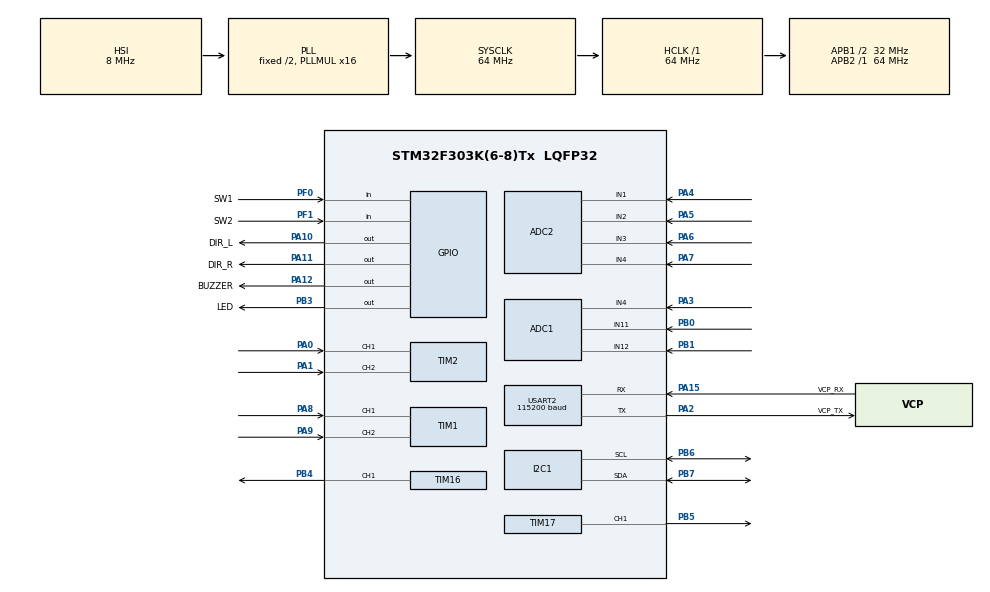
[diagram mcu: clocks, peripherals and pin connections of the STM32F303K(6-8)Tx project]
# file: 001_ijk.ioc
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ADC1.Channel-0\#ChannelRegularConversion=ADC_CHANNEL_4
ADC1.Channel-1\#ChannelRegularConversion=ADC_CHANNEL_11
ADC1.Channel-2\#ChannelRegularConversion=ADC_CHANNEL_12
ADC1.DMAContinuousRequests=ENABLE
ADC1.DiscontinuousConvMode=ENABLE
ADC1.ExternalTrigConv=ADC_EXTERNALTRIGCONV_T3_TRGO
ADC1.NbrOfConversion=3
ADC1.NbrOfConversionFlag=1
ADC1.NbrOfDiscConversion=3
ADC1.Offset-0\#ChannelRegularConversion=0
ADC1.Offset-1\#ChannelRegularConversion=0
ADC1.Offset-2\#ChannelRegularConversion=0
ADC1.OffsetNumber-0\#ChannelRegularConversion=ADC_OFFSET_NONE
ADC1.OffsetNumber-1\#ChannelRegularConversion=ADC_OFFSET_NONE
ADC1.OffsetNumber-2\#ChannelRegularConversion=ADC_OFFSET_NONE
ADC1.Rank-0\#ChannelRegularConversion=1
ADC1.Rank-1\#ChannelRegularConversion=2
ADC1.Rank-2\#ChannelRegularConversion=3
ADC1.SamplingTime-0\#ChannelRegularConversion=ADC_SAMPLETIME_4CYCLES_5
ADC1.SamplingTime-1\#ChannelRegularConversion=ADC_SAMPLETIME_4CYCLES_5
ADC1.SamplingTime-2\#ChannelRegularConversion=ADC_SAMPLETIME_4CYCLES_5
ADC1.SamplingTimeOPAMP-1\#ChannelRegularConversion=ADC_SAMPLETIME_61CYCLES_5
ADC1.SamplingTimeOPAMP-2\#ChannelRegularConversion=ADC_SAMPLETIME_61CYCLES_5
ADC1.SubFamily=STM32F303x8
ADC1.master=1
ADC2.Channel-0\#ChannelRegularConversion=ADC_CHANNEL_1
ADC2.Channel-1\#ChannelRegularConversion=ADC_CHANNEL_2
ADC2.Channel-2\#ChannelRegularConversion=ADC_CHANNEL_3
ADC2.Channel-3\#ChannelRegularConversion=ADC_CHANNEL_4
ADC2.DMAContinuousRequests=ENABLE
ADC2.DiscontinuousConvMode=ENABLE
ADC2.ExternalTrigConv=ADC_EXTERNALTRIGCONV_T3_TRGO
ADC2.NbrOfConversion=4
ADC2.NbrOfConversionFlag=1
ADC2.NbrOfDiscConversion=4
ADC2.Offset-0\#ChannelRegularConversion=0
ADC2.Offset-1\#ChannelRegularConversion=0
ADC2.Offset-2\#ChannelRegularConversion=0
ADC2.Offset-3\#ChannelRegularConversion=0
ADC2.OffsetNumber-0\#ChannelRegularConversion=ADC_OFFSET_NONE
ADC2.OffsetNumber-1\#ChannelRegularConversion=ADC_OFFSET_NONE
ADC2.OffsetNumber-2\#ChannelRegularConversion=ADC_OFFSET_NONE
ADC2.OffsetNumber-3\#ChannelRegularConversion=ADC_OFFSET_NONE
ADC2.Rank-0\#ChannelRegularConversion=1
ADC2.Rank-1\#ChannelRegularConversion=2
ADC2.Rank-2\#ChannelRegularConversion=3
ADC2.Rank-3\#ChannelRegularConversion=4
ADC2.SamplingTime-0\#ChannelRegularConversion=ADC_SAMPLETIME_4CYCLES_5
ADC2.SamplingTime-1\#ChannelRegularConversion=ADC_SAMPLETIME_4CYCLES_5
ADC2.SamplingTime-2\#ChannelRegularConversion=ADC_SAMPLETIME_4CYCLES_5
ADC2.SamplingTime-3\#ChannelRegularConversion=ADC_SAMPLETIME_4CYCLES_5
ADC2.SamplingTimeOPAMP-1\#ChannelRegularConversion=ADC_SAMPLETIME_61CYCLES_5
ADC2.SamplingTimeOPAMP-2\#ChannelRegularConversion=ADC_SAMPLETIME_61CYCLES_5
ADC2.SamplingTimeOPAMP-3\#ChannelRegularConversion=ADC_SAMPLETIME_61CYCLES_5
ADC2.SubFamily=STM32F303x8
Dma.ADC1.0.Direction=DMA_PERIPH_TO_MEMORY
Dma.ADC1.0.Instance=DMA1_Channel1
Dma.ADC1.0.MemDataAlignment=DMA_MDATAALIGN_HALFWORD
Dma.ADC1.0.MemInc=DMA_MINC_ENABLE
Dma.ADC1.0.Mode=DMA_CIRCULAR
Dma.ADC1.0.PeriphDataAlignment=DMA_PDATAALIGN_HALFWORD
Dma.ADC1.0.PeriphInc=DMA_PINC_DISABLE
Dma.ADC1.0.Priority=DMA_PRIORITY_LOW
Dma.ADC2.1.Direction=DMA_PERIPH_TO_MEMORY
Dma.ADC2.1.Instance=DMA1_Channel2
Dma.ADC2.1.MemDataAlignment=DMA_MDATAALIGN_HALFWORD
Dma.ADC2.1.MemInc=DMA_MINC_ENABLE
Dma.ADC2.1.Mode=DMA_CIRCULAR
Dma.ADC2.1.PeriphDataAlignment=DMA_PDATAALIGN_HALFWORD
Dma.ADC2.1.PeriphInc=DMA_PINC_DISABLE
Dma.ADC2.1.Priority=DMA_PRIORITY_LOW
Dma.I2C1_RX.2.Direction=DMA_PERIPH_TO_MEMORY
Dma.I2C1_RX.2.Instance=DMA1_Channel3
Dma.I2C1_RX.2.MemDataAlignment=DMA_MDATAALIGN_BYTE
Dma.I2C1_RX.2.MemInc=DMA_MINC_ENABLE
Dma.I2C1_RX.2.Mode=DMA_NORMAL
Dma.I2C1_RX.2.PeriphDataAlignment=DMA_PDATAALIGN_BYTE
Dma.I2C1_RX.2.PeriphInc=DMA_PINC_DISABLE
Dma.I2C1_RX.2.Priority=DMA_PRIORITY_LOW
Dma.I2C1_TX.3.Direction=DMA_MEMORY_TO_PERIPH
Dma.I2C1_TX.3.Instance=DMA1_Channel4
Dma.I2C1_TX.3.MemDataAlignment=DMA_MDATAALIGN_BYTE
Dma.I2C1_TX.3.MemInc=DMA_MINC_ENABLE
Dma.I2C1_TX.3.Mode=DMA_NORMAL
Dma.I2C1_TX.3.PeriphDataAlignment=DMA_PDATAALIGN_BYTE
Dma.I2C1_TX.3.PeriphInc=DMA_PINC_DISABLE
Dma.I2C1_TX.3.Priority=DMA_PRIORITY_LOW
Dma.Request0=ADC1
Dma.Request1=ADC2
Dma.Request2=I2C1_RX
Dma.Request3=I2C1_TX
I2C1.Timing=0x00201D2B
Mcu.Family=STM32F3
Mcu.Name=STM32F303K(6-8)Tx
Mcu.Package=LQFP32
NVIC.DMA1_Channel1_IRQn=true\:0\:0\:false\:false\:true\:false\:true\:true
NVIC.DMA1_Channel2_IRQn=true\:0\:0\:false\:false\:true\:false\:true\:true
NVIC.DMA1_Channel3_IRQn=true\:0\:0\:false\:false\:true\:false\:true\:true
NVIC.DMA1_Channel4_IRQn=true\:0\:0\:false\:false\:true\:false\:true\:true
NVIC.I2C1_EV_IRQn=true\:0\:0\:false\:false\:true\:true\:true\:true
NVIC.PriorityGroup=NVIC_PRIORITYGROUP_4
NVIC.TIM6_DAC1_IRQn=true\:0\:0\:false\:false\:true\:true\:true\:true
PA0.Signal=S_TIM2_CH1_ETR
PA1.Signal=S_TIM2_CH2
PA10.GPIO_Label=DIR_L
PA10.Signal=GPIO_Output
PA11.GPIO_Label=DIR_R
PA11.Signal=GPIO_Output
PA12.GPIO_Label=BUZZER
PA12.Signal=GPIO_Output
PA13.GPIO_Label=SWDIO
PA13.Mode=Serial_Wire
PA13.Signal=SYS_JTMS-SWDIO
PA14.GPIO_Label=SWCLK
PA14.Mode=Serial_Wire
PA14.Signal=SYS_JTCK-SWCLK
PA15.GPIO_Label=VCP_RX
PA15.Mode=Asynchronous
PA15.Signal=USART2_RX
PA2.GPIO_Label=VCP_TX
PA2.Mode=Asynchronous
PA2.Signal=USART2_TX
PA3.Mode=IN4-Single-Ended
PA3.Signal=ADC1_IN4
PA4.Mode=IN1-Single-Ended
PA4.Signal=ADC2_IN1
PA5.Mode=IN2-Single-Ended
PA5.Signal=ADC2_IN2
PA6.Mode=IN3-Single-Ended
PA6.Signal=ADC2_IN3
PA7.Mode=IN4-Single-Ended
PA7.Signal=ADC2_IN4
PA8.Signal=S_TIM1_CH1
PA9.Signal=S_TIM1_CH2
PB0.Mode=IN11-Single-Ended
PB0.Signal=ADC1_IN11
PB1.Mode=IN12-Single-Ended
PB1.Signal=ADC1_IN12
PB3.GPIO_Label=LED
PB3.Signal=GPIO_Output
PB4.Signal=S_TIM16_CH1
PB5.Signal=S_TIM17_CH1
PB6.Mode=I2C
PB6.Signal=I2C1_SCL
PB7.Mode=I2C
PB7.Signal=I2C1_SDA
PF0\ /\ OSC_IN.GPIO_Label=SW1
PF0\ /\ OSC_IN.GPIO_PuPd=GPIO_PULLUP
PF0\ /\ OSC_IN.Signal=GPIO_Input
PF1\ /\ OSC_OUT.GPIO_Label=SW2
PF1\ /\ OSC_OUT.GPIO_PuPd=GPIO_PULLUP
PF1\ /\ OSC_OUT.Signal=GPIO_Input
ProjectManager.HeapSize=0x200
ProjectManager.StackSize=0x400
ProjectManager.TargetToolchain=STM32CubeIDE
RCC.AHBFreq_Value=64000000
RCC.APB1CLKDivider=RCC_HCLK_DIV2
RCC.APB1Freq_Value=32000000
RCC.APB1TimFreq_Value=64000000
RCC.APB2Freq_Value=64000000
RCC.APB2TimFreq_Value=64000000
RCC.CortexFreq_Value=64000000
RCC.HCLKFreq_Value=64000000
RCC.HSE_VALUE=8000000
RCC.HSI_VALUE=8000000
RCC.PLLMUL=RCC_PLL_MUL16
RCC.SYSCLKFreq_VALUE=64000000
RCC.SYSCLKSourceVirtual=RCC_SYSCLKSOURCE_PLLCLK
SH.S_TIM16_CH1.0=TIM16_CH1,PWM Generation1 CH1
SH.S_TIM17_CH1.0=TIM17_CH1,PWM Generation1 CH1
SH.S_TIM1_CH1.0=TIM1_CH1,Encoder_Interface
SH.S_TIM1_CH2.0=TIM1_CH2,Encoder_Interface
SH.S_TIM2_CH1_ETR.0=TIM2_CH1,Encoder_Interface
SH.S_TIM2_CH2.0=TIM2_CH2,Encoder_Interface
TIM1.AutoReloadPreload=TIM_AUTORELOAD_PRELOAD_ENABLE
TIM1.EncoderMode=TIM_ENCODERMODE_TI12
TIM16.AutoReloadPreload=TIM_AUTORELOAD_PRELOAD_ENABLE
TIM16.Channel=TIM_CHANNEL_1
TIM16.Period=3199
TIM16.Pulse=599
TIM17.AutoReloadPreload=TIM_AUTORELOAD_PRELOAD_ENABLE
TIM17.Channel=TIM_CHANNEL_1
TIM17.Period=3199
TIM17.Pulse=599
TIM2.AutoReloadPreload=TIM_AUTORELOAD_PRELOAD_ENABLE
TIM2.EncoderMode=TIM_ENCODERMODE_TI12
TIM3.AutoReloadPreload=TIM_AUTORELOAD_PRELOAD_ENABLE
TIM3.Period=999
TIM3.Prescaler=63
TIM3.TIM_MasterOutputTrigger=TIM_TRGO_UPDATE
TIM6.AutoReloadPreload=TIM_AUTORELOAD_PRELOAD_ENABLE
TIM6.Period=499
TIM6.Prescaler=63
USART2.BaudRate=115200
USART2.VirtualMode-Asynchronous=VM_ASYNC
VP_TIM16_VS_ClockSourceINT.Mode=Enable_Timer
VP_TIM17_VS_ClockSourceINT.Mode=Enable_Timer
VP_TIM3_VS_ClockSourceINT.Mode=Internal
VP_TIM6_VS_ClockSourceINT.Mode=Enable_Timer
board=NUCLEO-F303K8

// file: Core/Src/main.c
/* USER CODE BEGIN Header */
/**
  ******************************************************************************
  * @file           : main.c
  * @brief          : Main program body
  ******************************************************************************
  * @attention
  *
  * Copyright (c) 2025 STMicroelectronics.
  * All rights reserved.
  *
  * This software is licensed under terms that can be found in the LICENSE file
  * in the root directory of this software component.
  * If no LICENSE file comes with this software, it is provided AS-IS.
  *
  ******************************************************************************
  */
/* USER CODE END Header */
#include "main.h"
#include "adc.h"
#include "dma.h"
#include "i2c.h"
#include "tim.h"
#include "usart.h"
#include "gpio.h"

/* USER CODE BEGIN Includes */
#include <stdio.h>

#include "../../usercodes/sac/sac.h"

/* USER CODE END Includes */

/* USER CODE BEGIN PV */
volatile uint16_t   ADC1_DMA_data[10];
volatile uint16_t   ADC2_DMA_data[10];
volatile uiswevent_t uisw_event_buffer[16];
buzzerSchedule_t    buzzerScheduleBuffer[16];
/* USER CODE END PV */

void SystemClock_Config(void);

/* USER CODE BEGIN 0 */
int __io_putchar(int ch){
    HAL_UART_Transmit(&huart2, (uint8_t *)&ch, 1 , 0xFFFF );
    return ch;
}

void HAL_TIM_PeriodElapsedCallback(TIM_HandleTypeDef *htim) {
    HAL_GPIO_WritePin(LED_GPIO_Port, LED_Pin, 1);
    if (htim == &htim3) {
    //=V=V=V=V= 1ms Timing Start =V=V=V=V=
        motorsControl_1ms();
        linesensorsMeasure_1ms();
        markersensorsMeasure_1ms();
    //=A=A=A=A= 1ms Timing End =A=A=A=A=
    }
    if (htim == &htim6) {
    //=V=V=V=V= 10ms Timing Start =V=V=V=V=
        uisw_10ms();
        buzzer_10ms();
        battery_10ms();
    //=A=A=A=A= 10ms Timing End =A=A=A=A=
    }
    HAL_GPIO_WritePin(LED_GPIO_Port, LED_Pin, 0);
}
/* USER CODE END 0 */

int main(void)
{

  /* USER CODE BEGIN 1 */
    int cnt = 0;
  /* USER CODE END 1 */

  /* MCU Configuration--------------------------------------------------------*/

  /* Reset of all peripherals, Initializes the Flash interface and the Systick. */
  HAL_Init();

  /* Configure the system clock */
  SystemClock_Config();

  /* Initialize all configured peripherals */
  MX_GPIO_Init();
  MX_DMA_Init();
  MX_USART2_UART_Init();
  MX_ADC1_Init();
  MX_ADC2_Init();
  MX_I2C1_Init();
  MX_TIM1_Init();
  MX_TIM2_Init();
  MX_TIM16_Init();
  MX_TIM17_Init();
  MX_TIM3_Init();
  MX_TIM6_Init();
  /* USER CODE BEGIN 2 */
  for (cnt = 0; cnt < 8; cnt++) {
      HAL_GPIO_WritePin(LED_GPIO_Port, LED_Pin, 1);
      HAL_GPIO_WritePin(BUZZER_GPIO_Port,BUZZER_Pin,1);
      HAL_Delay(64 - (cnt * 4));
      HAL_GPIO_WritePin(LED_GPIO_Port, LED_Pin, 0);
      HAL_GPIO_WritePin(BUZZER_GPIO_Port,BUZZER_Pin,0);
      HAL_Delay(128 - (cnt * 8));
  }

//  I2C1_BMX055_Init();

  // ADC start
  HAL_ADC_Start_DMA(&hadc1, (uint32_t *)ADC1_DMA_data, 3);
  HAL_ADC_Start_DMA(&hadc2, (uint32_t *)ADC2_DMA_data, 4);

  //motor start

  HAL_TIM_PWM_Start(&htim16, TIM_CHANNEL_1);
  HAL_TIM_PWM_Start(&htim17, TIM_CHANNEL_1);

  HAL_TIM_Encoder_Start(&htim1, TIM_CHANNEL_ALL);
  HAL_TIM_Encoder_Start(&htim2, TIM_CHANNEL_ALL);

  /// SAC INIT
  uiswInit(uisw_event_buffer, sizeof(uisw_event_buffer)/sizeof(uisw_event_buffer[0]));
  buzzerInit(buzzerScheduleBuffer, sizeof(buzzerScheduleBuffer)/sizeof(buzzerScheduleBuffer[0]));
  motorsInit();
  linesensorsInit(&ADC2_DMA_data[2], &ADC2_DMA_data[1], &ADC2_DMA_data[0], &ADC1_DMA_data[0]);
  markersensorsInit(&ADC1_DMA_data[2], &ADC1_DMA_data[1]);
  batteryInit(&ADC2_DMA_data[3]);

  // Timer Intr 1ms
  HAL_TIM_Base_Start_IT(&htim3);
  // Timer Intr 10ms
  __HAL_TIM_SET_COUNTER(&htim6, 500);
  HAL_TIM_Base_Start_IT(&htim6);
  printf("\r\n=== !! IJK BOOT OK !! ===\r\n");
  /* USER CODE END 2 */

  /* Infinite loop */
  /* USER CODE BEGIN WHILE */
  while (1)
  {
      sacLoop();
    /* USER CODE END WHILE */

    /* USER CODE BEGIN 3 */
      HAL_Delay(50);
  }
  /* USER CODE END 3 */
}

void SystemClock_Config(void)
{
  RCC_OscInitTypeDef RCC_OscInitStruct = {0};
  RCC_ClkInitTypeDef RCC_ClkInitStruct = {0};
  RCC_PeriphCLKInitTypeDef PeriphClkInit = {0};

  /** Initializes the RCC Oscillators according to the specified parameters
  * in the RCC_OscInitTypeDef structure.
  */
  RCC_OscInitStruct.OscillatorType = RCC_OSCILLATORTYPE_HSI;
  RCC_OscInitStruct.HSIState = RCC_HSI_ON;
  RCC_OscInitStruct.HSICalibrationValue = RCC_HSICALIBRATION_DEFAULT;
  RCC_OscInitStruct.PLL.PLLState = RCC_PLL_ON;
  RCC_OscInitStruct.PLL.PLLSource = RCC_PLLSOURCE_HSI;
  RCC_OscInitStruct.PLL.PLLMUL = RCC_PLL_MUL16;
  if (HAL_RCC_OscConfig(&RCC_OscInitStruct) != HAL_OK)
  {
    Error_Handler();
  }

  /** Initializes the CPU, AHB and APB buses clocks
  */
  RCC_ClkInitStruct.ClockType = RCC_CLOCKTYPE_HCLK|RCC_CLOCKTYPE_SYSCLK
                              |RCC_CLOCKTYPE_PCLK1|RCC_CLOCKTYPE_PCLK2;
  RCC_ClkInitStruct.SYSCLKSource = RCC_SYSCLKSOURCE_PLLCLK;
  RCC_ClkInitStruct.AHBCLKDivider = RCC_SYSCLK_DIV1;
  RCC_ClkInitStruct.APB1CLKDivider = RCC_HCLK_DIV2;
  RCC_ClkInitStruct.APB2CLKDivider = RCC_HCLK_DIV1;

  if (HAL_RCC_ClockConfig(&RCC_ClkInitStruct, FLASH_LATENCY_2) != HAL_OK)
  {
    Error_Handler();
  }
  PeriphClkInit.PeriphClockSelection = RCC_PERIPHCLK_I2C1|RCC_PERIPHCLK_TIM1
                              |RCC_PERIPHCLK_ADC12;
  PeriphClkInit.Adc12ClockSelection = RCC_ADC12PLLCLK_DIV1;
  PeriphClkInit.I2c1ClockSelection = RCC_I2C1CLKSOURCE_HSI;
  PeriphClkInit.Tim1ClockSelection = RCC_TIM1CLK_HCLK;
  if (HAL_RCCEx_PeriphCLKConfig(&PeriphClkInit) != HAL_OK)
  {
    Error_Handler();
  }
}

void Error_Handler(void)
{
  __disable_irq();
  while (1)
  {
  }
}
